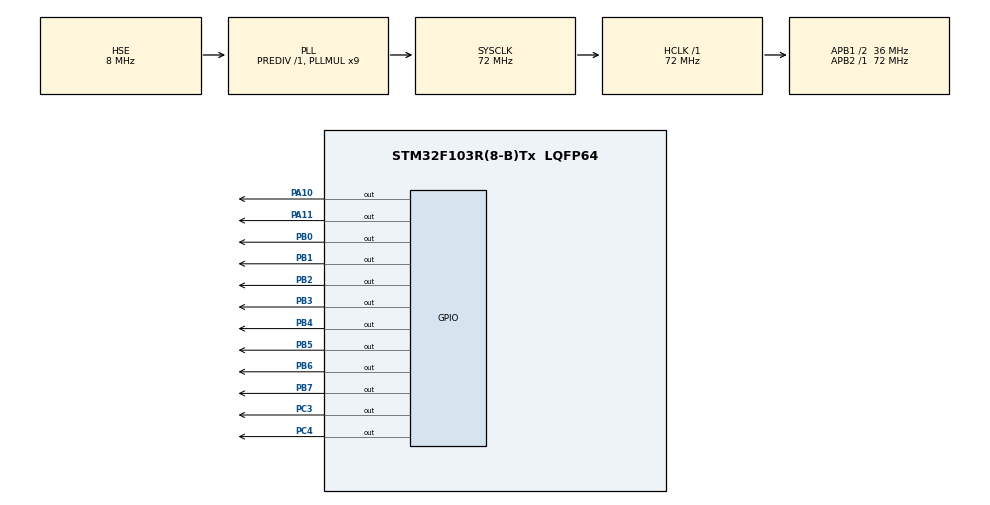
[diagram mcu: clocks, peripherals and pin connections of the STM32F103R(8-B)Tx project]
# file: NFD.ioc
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Mcu.Family=STM32F1
Mcu.Name=STM32F103R(8-B)Tx
Mcu.Package=LQFP64
NVIC.PriorityGroup=NVIC_PRIORITYGROUP_4
PA10.Signal=GPIO_Output
PA11.Signal=GPIO_Output
PA13.Mode=Serial_Wire
PA13.Signal=SYS_JTMS-SWDIO
PA14.Mode=Serial_Wire
PA14.Signal=SYS_JTCK-SWCLK
PB0.Signal=GPIO_Output
PB1.Signal=GPIO_Output
PB2.Signal=GPIO_Output
PB3.Signal=GPIO_Output
PB4.Signal=GPIO_Output
PB5.Signal=GPIO_Output
PB6.Signal=GPIO_Output
PB7.Signal=GPIO_Output
PC14-OSC32_IN.Mode=LSE-External-Oscillator
PC14-OSC32_IN.Signal=RCC_OSC32_IN
PC15-OSC32_OUT.Mode=LSE-External-Oscillator
PC15-OSC32_OUT.Signal=RCC_OSC32_OUT
PC3.Signal=GPIO_Output
PC4.Signal=GPIO_Output
PD0-OSC_IN.Mode=HSE-External-Clock-Source
PD0-OSC_IN.Signal=RCC_OSC_IN
PD1-OSC_OUT.Mode=HSE-External-Clock-Source
PD1-OSC_OUT.Signal=RCC_OSC_OUT
ProjectManager.HeapSize=0x200
ProjectManager.StackSize=0x400
ProjectManager.TargetToolchain=STM32CubeIDE
RCC.AHBFreq_Value=72000000
RCC.APB1CLKDivider=RCC_HCLK_DIV2
RCC.APB1Freq_Value=36000000
RCC.APB1TimFreq_Value=72000000
RCC.APB2Freq_Value=72000000
RCC.APB2TimFreq_Value=72000000
RCC.HCLKFreq_Value=72000000
RCC.PLLMUL=RCC_PLL_MUL9
RCC.PLLSourceVirtual=RCC_PLLSOURCE_HSE
RCC.SYSCLKFreq_VALUE=72000000
RCC.SYSCLKSource=RCC_SYSCLKSOURCE_PLLCLK
RCC.USBFreq_Value=72000000
board=custom

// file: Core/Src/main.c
/* USER CODE BEGIN Header */
/**
  ******************************************************************************
  * @file           : main.c
  * @brief          : Main program body
  ******************************************************************************
  * @attention
  *
  * Copyright (c) 2023 STMicroelectronics.
  * All rights reserved.
  *
  * This software is licensed under terms that can be found in the LICENSE file
  * in the root directory of this software component.
  * If no LICENSE file comes with this software, it is provided AS-IS.
  *
  ******************************************************************************
  */
/* USER CODE END Header */
#include "main.h"
#include "stdlib.h"

/* USER CODE BEGIN PV */
uint8_t number[] = {0x3f, 0x06, 0x5b, 0x4f,0x66, 0x6d, 0x7d, 0x07, 0x7f, 0x67};
uint8_t alphabet[] = {0x76,0x79, 0x38,0x73};
typedef struct FND{
	GPIO_TypeDef *port;
	uint16_t pin;
}FND;

FND value[8]={
	{GPIOB, GPIO_PIN_0},
	{GPIOB, GPIO_PIN_1},
	{GPIOB, GPIO_PIN_2},
	{GPIOB, GPIO_PIN_3},
	{GPIOB, GPIO_PIN_4},
	{GPIOB, GPIO_PIN_5},
	{GPIOB, GPIO_PIN_6},
	{GPIOB, GPIO_PIN_7}
};

FND sel[4]={
		{GPIOA,GPIO_PIN_10},{GPIOA,GPIO_PIN_11},{GPIOC,GPIO_PIN_4},{GPIOC,GPIO_PIN_3}
};

/* USER CODE END PV */

void SystemClock_Config(void);
static void MX_GPIO_Init(void);
void display_fnd(uint8_t data, uint8_t position , uint8_t time){
	int i;
	for(i = 0 ; i < 4; i++){
		if(i == position){
			HAL_GPIO_WritePin(sel[i].port, sel[i].pin, 1);
		}
		else{
			HAL_GPIO_WritePin(sel[i].port, sel[i].pin, 0);
		}
	}
	for(i = 0 ; i < 8; i++){

			if(data & (1<<i)){
				HAL_GPIO_WritePin(value[i].port, value[i].pin, 1);
			}
			else{
				HAL_GPIO_WritePin(value[i].port, value[i].pin, 0);
			}
		}
	HAL_Delay(time);
}

int main(void)
{

  /* MCU Configuration--------------------------------------------------------*/

  /* Reset of all peripherals, Initializes the Flash interface and the Systick. */
  HAL_Init();

  /* Configure the system clock */
  SystemClock_Config();

  /* Initialize all configured peripherals */
  MX_GPIO_Init();

  /* Infinite loop */
  while (1)
  {
	  display_fnd(alphabet[0],3,5);
	  display_fnd(alphabet[1],2,5);
	  display_fnd(alphabet[2],1,5);
	  display_fnd(alphabet[3],0,5);
  }
}

void SystemClock_Config(void)
{
  RCC_OscInitTypeDef RCC_OscInitStruct = {0};
  RCC_ClkInitTypeDef RCC_ClkInitStruct = {0};

  /** Initializes the RCC Oscillators according to the specified parameters
  * in the RCC_OscInitTypeDef structure.
  */
  RCC_OscInitStruct.OscillatorType = RCC_OSCILLATORTYPE_HSE;
  RCC_OscInitStruct.HSEState = RCC_HSE_BYPASS;
  RCC_OscInitStruct.HSEPredivValue = RCC_HSE_PREDIV_DIV1;
  RCC_OscInitStruct.HSIState = RCC_HSI_ON;
  RCC_OscInitStruct.PLL.PLLState = RCC_PLL_ON;
  RCC_OscInitStruct.PLL.PLLSource = RCC_PLLSOURCE_HSE;
  RCC_OscInitStruct.PLL.PLLMUL = RCC_PLL_MUL9;
  if (HAL_RCC_OscConfig(&RCC_OscInitStruct) != HAL_OK)
  {
    Error_Handler();
  }

  /** Initializes the CPU, AHB and APB buses clocks
  */
  RCC_ClkInitStruct.ClockType = RCC_CLOCKTYPE_HCLK|RCC_CLOCKTYPE_SYSCLK
                              |RCC_CLOCKTYPE_PCLK1|RCC_CLOCKTYPE_PCLK2;
  RCC_ClkInitStruct.SYSCLKSource = RCC_SYSCLKSOURCE_PLLCLK;
  RCC_ClkInitStruct.AHBCLKDivider = RCC_SYSCLK_DIV1;
  RCC_ClkInitStruct.APB1CLKDivider = RCC_HCLK_DIV2;
  RCC_ClkInitStruct.APB2CLKDivider = RCC_HCLK_DIV1;

  if (HAL_RCC_ClockConfig(&RCC_ClkInitStruct, FLASH_LATENCY_2) != HAL_OK)
  {
    Error_Handler();
  }
}

static void MX_GPIO_Init(void)
{
  GPIO_InitTypeDef GPIO_InitStruct = {0};

  /* GPIO Ports Clock Enable */
  __HAL_RCC_GPIOC_CLK_ENABLE();
  __HAL_RCC_GPIOD_CLK_ENABLE();
  __HAL_RCC_GPIOB_CLK_ENABLE();
  __HAL_RCC_GPIOA_CLK_ENABLE();

  /*Configure GPIO pin Output Level */
  HAL_GPIO_WritePin(GPIOC, GPIO_PIN_3|GPIO_PIN_4, GPIO_PIN_RESET);

  /*Configure GPIO pin Output Level */
  HAL_GPIO_WritePin(GPIOB, GPIO_PIN_0|GPIO_PIN_1|GPIO_PIN_2|GPIO_PIN_3
                          |GPIO_PIN_4|GPIO_PIN_5|GPIO_PIN_6|GPIO_PIN_7, GPIO_PIN_RESET);

  /*Configure GPIO pin Output Level */
  HAL_GPIO_WritePin(GPIOA, GPIO_PIN_10|GPIO_PIN_11, GPIO_PIN_RESET);

  /*Configure GPIO pins : PC3 PC4 */
  GPIO_InitStruct.Pin = GPIO_PIN_3|GPIO_PIN_4;
  GPIO_InitStruct.Mode = GPIO_MODE_OUTPUT_PP;
  GPIO_InitStruct.Pull = GPIO_NOPULL;
  GPIO_InitStruct.Speed = GPIO_SPEED_FREQ_LOW;
  HAL_GPIO_Init(GPIOC, &GPIO_InitStruct);

  /*Configure GPIO pins : PB0 PB1 PB2 PB3
                           PB4 PB5 PB6 PB7 */
  GPIO_InitStruct.Pin = GPIO_PIN_0|GPIO_PIN_1|GPIO_PIN_2|GPIO_PIN_3
                          |GPIO_PIN_4|GPIO_PIN_5|GPIO_PIN_6|GPIO_PIN_7;
  GPIO_InitStruct.Mode = GPIO_MODE_OUTPUT_PP;
  GPIO_InitStruct.Pull = GPIO_NOPULL;
  GPIO_InitStruct.Speed = GPIO_SPEED_FREQ_LOW;
  HAL_GPIO_Init(GPIOB, &GPIO_InitStruct);

  /*Configure GPIO pins : PA10 PA11 */
  GPIO_InitStruct.Pin = GPIO_PIN_10|GPIO_PIN_11;
  GPIO_InitStruct.Mode = GPIO_MODE_OUTPUT_PP;
  GPIO_InitStruct.Pull = GPIO_NOPULL;
  GPIO_InitStruct.Speed = GPIO_SPEED_FREQ_LOW;
  HAL_GPIO_Init(GPIOA, &GPIO_InitStruct);

}

void Error_Handler(void)
{
  __disable_irq();
  while (1)
  {
  }
}
